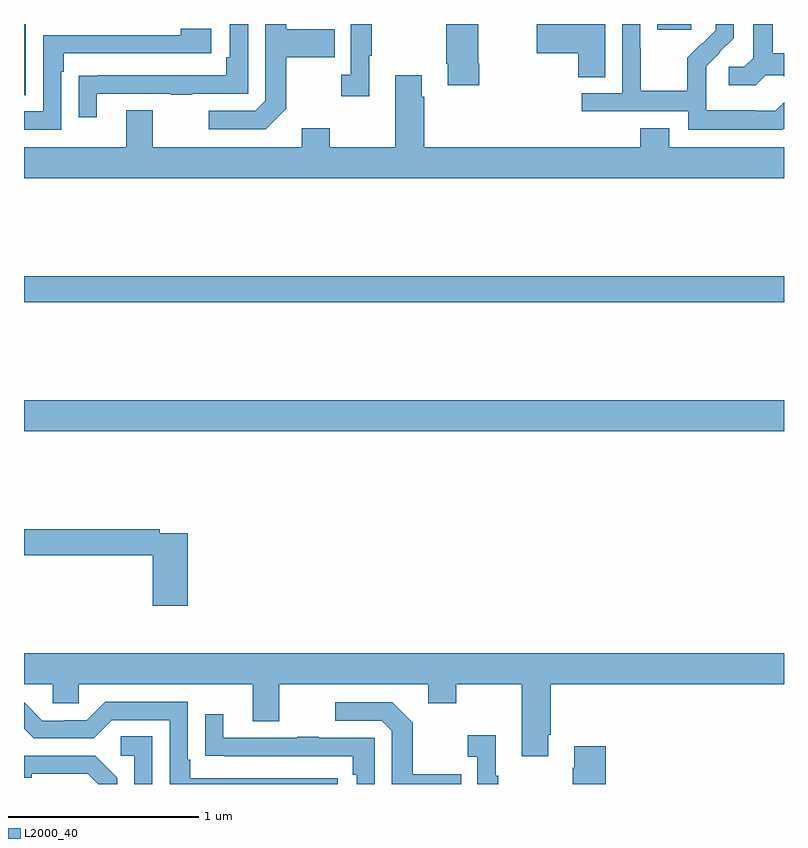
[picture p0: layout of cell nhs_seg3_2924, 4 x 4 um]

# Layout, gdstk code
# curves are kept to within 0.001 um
import gdstk
lib = gdstk.Library(unit=1e-6, precision=1e-09)
def R(c, l, rs):  # rectangles x0, y0, x1, y1
    for r in rs: c.add(gdstk.rectangle(r[:2], r[2:], *l))
def P(c, l, *ps):  # polygons
    for p in ps: c.add(gdstk.Polygon(p, *l))
L2000_40 = (2000, 40)

nhs_seg3_2924 = lib.new_cell('nhs_seg3_2924')
R(nhs_seg3_2924, L2000_40, [(263,694.256,267,694.42), (263,694.936,267,695.072), (263,696.025,263.01,696.4), (266.333,696.369,266.512,696.4)])
P(nhs_seg3_2924, L2000_40, [(265.397,696.19),(265.392,696.19),(265.392,696.4),(265.222,696.4),(265.222,696.19),(265.229,696.19),(265.229,696.078),(265.397,696.078)],
  [(263.383,696.033),(263.773,696.033),(263.773,696.028),(263.885,696.028),(263.885,696.033),(264.18,696.033),(264.18,696.4),(264.084,696.4),(264.084,696.226),(264.064,696.226),(264.064,696.129),(263.389,696.129),(263.389,696.128),(263.287,696.128),(263.287,695.91),(263.383,695.91)],
  [(266.904,696.129),(266.998,696.129),(266.998,696.126),(267,696.126),(267,696.245),(266.941,696.245),(266.941,696.4),(266.837,696.4),(266.837,696.221),(266.79,696.174),(266.709,696.174),(266.709,696.077),(266.852,696.077)],
  [(266.059,696.4),(265.698,696.4),(265.698,696.245),(265.916,696.245),(265.916,696.121),(266.059,696.121)],
  [(267,695.85),(267,695.988),(266.955,695.943),(266.855,695.943),(266.855,695.947),(266.592,695.947),(266.592,696.081),(266.59,696.081),(266.59,696.178),(266.736,696.326),(266.736,696.4),(266.642,696.4),(266.642,696.368),(266.571,696.297),(266.568,696.3),(266.491,696.223),(266.491,696.049),(266.247,696.049),(266.247,696.272),(266.244,696.272),(266.244,696.4),(266.148,696.4),(266.148,696.036),(265.935,696.036),(265.935,695.94),(266.496,695.94),(266.496,695.843),(266.993,695.843)],
  [(264.817,696.233),(264.829,696.233),(264.829,696.4),(264.72,696.4),(264.72,696.134),(264.669,696.134),(264.669,696.021),(264.817,696.021)],
  [(264.379,695.953),(264.379,696.226),(264.635,696.226),(264.635,696.373),(264.379,696.373),(264.379,696.4),(264.27,696.4),(264.27,695.997),(264.216,695.943),(263.973,695.943),(263.973,695.847),(264.273,695.847)],
  [(263.196,696.149),(263.209,696.149),(263.209,696.246),(263.986,696.246),(263.986,696.376),(263.825,696.376),(263.825,696.342),(263.1,696.342),(263.1,695.94),(263,695.94),(263,695.844),(263.196,695.844)],
  [(267,695.752),(266.395,695.752),(266.395,695.851),(266.243,695.851),(266.243,695.752),(265.106,695.752),(265.106,696.017),(265.093,696.017),(265.093,696.13),(264.953,696.13),(264.953,695.752),(264.609,695.752),(264.609,695.851),(264.461,695.851),(264.461,695.752),(263.677,695.752),(263.677,695.947),(263.537,695.947),(263.537,695.752),(263,695.752),(263,695.588),(267,695.588)],
  [(263.861,693.72),(263.714,693.72),(263.714,693.74),(263,693.74),(263,693.604),(263.678,693.604),(263.678,693.339),(263.861,693.339)],
  [(265.759,692.659),(265.772,692.659),(265.772,692.924),(267,692.924),(267,693.088),(263,693.088),(263,692.924),(263.151,692.924),(263.151,692.826),(263.289,692.826),(263.289,692.924),(264.203,692.924),(264.203,692.73),(264.343,692.73),(264.343,692.924),(265.127,692.924),(265.127,692.825),(265.275,692.825),(265.275,692.924),(265.619,692.924),(265.619,692.547),(265.759,692.547)],
  [(264.652,692.43),(263.875,692.43),(263.875,692.527),(263.862,692.527),(263.862,692.832),(263.427,692.832),(263.331,692.736),(263.213,692.736),(263.213,692.733),(263.097,692.733),(263,692.83),(263,692.692),(263.052,692.64),(263.367,692.64),(263.463,692.736),(263.766,692.736),(263.766,692.4),(264.652,692.4)],
  [(265.301,692.451),(265.045,692.451),(265.045,692.723),(264.939,692.829),(264.639,692.829),(264.639,692.733),(264.882,692.733),(264.936,692.679),(264.936,692.4),(265.301,692.4)],
  [(264.846,692.643),(264.551,692.643),(264.551,692.648),(264.439,692.648),(264.439,692.643),(264.049,692.643),(264.049,692.767),(263.953,692.767),(263.953,692.548),(264.055,692.548),(264.055,692.547),(264.73,692.547),(264.73,692.45),(264.75,692.45),(264.75,692.4),(264.846,692.4)],
  [(265.495,692.443),(265.483,692.443),(265.483,692.656),(265.335,692.656),(265.335,692.543),(265.386,692.543),(265.386,692.4),(265.495,692.4)],
  [(263.676,692.651),(263.508,692.651),(263.508,692.55),(263.58,692.55),(263.58,692.4),(263.676,692.4)],
  [(266.063,692.599),(265.895,692.599),(265.895,692.486),(265.888,692.486),(265.888,692.4),(266.063,692.4)],
  [(263.49,692.434),(263.374,692.55),(263.002,692.55),(263.002,692.547),(263,692.547),(263,692.432),(263.041,692.432),(263.041,692.454),(263.336,692.454),(263.39,692.4),(263.49,692.4)])

lib.write_gds('nhs_seg3_2924.gds')
